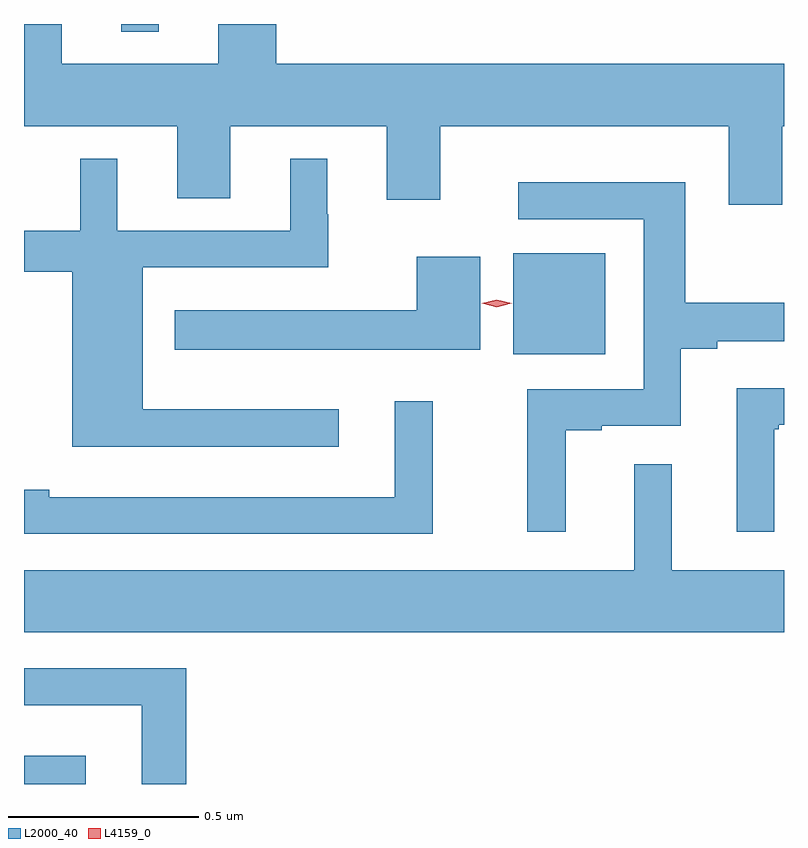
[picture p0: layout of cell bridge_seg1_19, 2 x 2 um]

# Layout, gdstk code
import gdstk
lib = gdstk.Library(unit=1e-6, precision=1e-09)
def R(c, l, rs):  # rectangles x0, y0, x1, y1
    for r in rs: c.add(gdstk.rectangle(r[:2], r[2:], *l))
def P(c, l, *ps):  # polygons
    for p in ps: c.add(gdstk.Polygon(p, *l))
L2000_40 = (2000, 40)
L4159_0 = (4159, 0)

bridge_seg1_19 = lib.new_cell('bridge_seg1_19')
R(bridge_seg1_19, L2000_40, [(887.122,538.013,887.284,538.087), (888.41,539.144,888.652,539.41), (887.378,539.993,887.476,540.013)])
P(bridge_seg1_19, L2000_40, [(889.117,539.744),(889.122,539.744),(889.122,539.908),(887.786,539.908),(887.786,540.013),(887.633,540.013),(887.633,539.908),(887.221,539.908),(887.221,540.013),(887.122,540.013),(887.122,539.744),(887.525,539.744),(887.525,539.554),(887.665,539.554),(887.665,539.744),(888.077,539.744),(888.077,539.55),(888.217,539.55),(888.217,539.744),(888.977,539.744),(888.977,539.538),(889.117,539.538)],
  [(887.95,538.999),(887.434,538.999),(887.434,539.373),(887.922,539.373),(887.922,539.513),(887.92,539.513),(887.92,539.659),(887.822,539.659),(887.822,539.469),(887.368,539.469),(887.368,539.659),(887.27,539.659),(887.27,539.469),(887.122,539.469),(887.122,539.361),(887.249,539.361),(887.249,538.901),(887.95,538.901)],
  [(888.547,538.944),(888.643,538.944),(888.643,538.956),(888.85,538.956),(888.85,539.158),(888.946,539.158),(888.946,539.178),(889.122,539.178),(889.122,539.279),(888.862,539.279),(888.862,539.596),(888.423,539.596),(888.423,539.499),(888.753,539.499),(888.753,539.052),(888.446,539.052),(888.446,538.677),(888.547,538.677)],
  [(888.322,539.401),(888.155,539.401),(888.155,539.26),(887.519,539.26),(887.519,539.156),(888.322,539.156)],
  [(889.096,538.947),(889.108,538.947),(889.108,538.958),(889.122,538.958),(889.122,539.055),(888.998,539.055),(888.998,538.677),(889.096,538.677)],
  [(888.198,539.02),(888.098,539.02),(888.098,538.768),(887.188,538.768),(887.188,538.787),(887.122,538.787),(887.122,538.671),(888.198,538.671)],
  [(889.122,538.576),(888.826,538.576),(888.826,538.855),(888.728,538.855),(888.728,538.576),(887.122,538.576),(887.122,538.412),(889.122,538.412)],
  [(887.549,538.317),(887.122,538.317),(887.122,538.22),(887.432,538.22),(887.432,538.013),(887.549,538.013)])
P(bridge_seg1_19, L4159_0, [(888.366,539.268),(888.326,539.278),(888.326,539.278),(888.326,539.278),(888.366,539.288),(888.406,539.278),(888.406,539.278),(888.406,539.278)])

lib.write_gds('bridge_seg1_19.gds')
